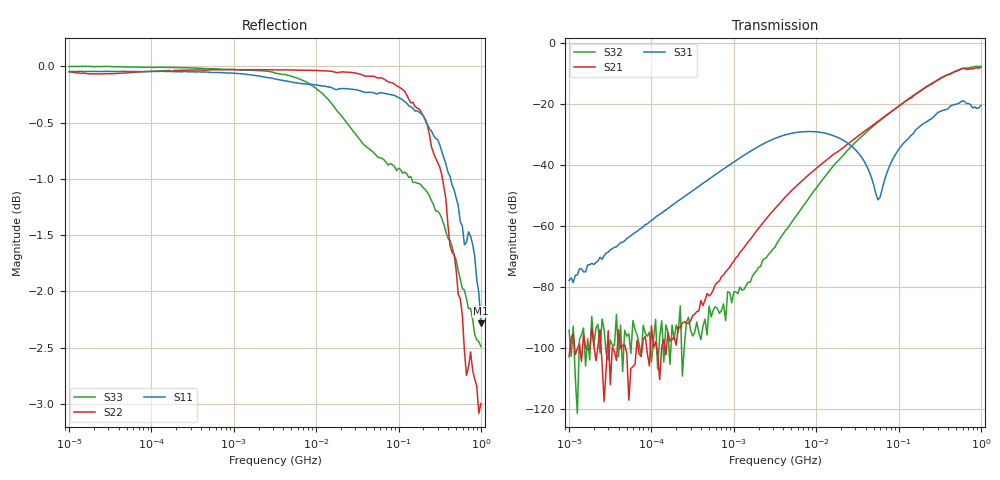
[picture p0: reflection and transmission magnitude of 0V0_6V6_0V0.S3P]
!Keysight Technologies,E5080A,MY55100144,A.11.70.03
!Date: Monday, November 13, 2017 17:26:01
!Correction: S11(Full 3 Port(1,2,3))
!S12(Full 3 Port(1,2,3))
!S13(Full 3 Port(1,2,3))
!S21(Full 3 Port(1,2,3))
!S22(Full 3 Port(1,2,3))
!S23(Full 3 Port(1,2,3))
!S31(Full 3 Port(1,2,3))
!S32(Full 3 Port(1,2,3))
!S33(Full 3 Port(1,2,3))
!S3P File: Measurements: <S11,S12,S13>,
!<S21,S22,S23>,
!<S31,S32,S33>:Log Frequency Sweep
# Hz S  RI  R 50
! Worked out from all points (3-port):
!   201 points, 10 kHz to 1 GHz, reference 50 ohm
!   strongest paths, dB at 10 kHz, 177.8 kHz, 3.162 MHz, 56.23 MHz, 1 GHz:
!     S31: -77.8, -53.2, -31.3, -51.4, -20.5
!     S21: -102.8, -97.2, -54.3, -25.7, -8.0
!     S32: -94.2, -92.5, -67.0, -26.0, -7.6
!   lowest |S11| = -2.3 dB at 1 GHz (marker M1), VSWR 7.65, Z = 383 + j0.352 ohm
!   |S11| at or under -10 dB: nowhere
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10000  0.9946 -0.00564  1.02e-05 8.78e-06  1.01e-05 0.000124
       6.4e-06 3.36e-06  0.4708 -0.8759  2.78e-06 -8.64e-06
       -1.88e-06 0.000129  -7.03e-06 -1.82e-05  0.9997 -0.00226
50118.72  0.9944 -0.027  -1.98e-07 2.23e-05  1.1e-05 0.00064
          -6.59e-06 4.91e-06  -0.7916 -0.6001  3.77e-06 2.02e-05
          1.46e-05 0.000625  -6.15e-06 1.44e-05  0.9993 -0.00565
562341.3  0.9491 -0.2945  -7.08e-05 4.29e-05  0.00138 0.00642
          -7.71e-05 4.61e-05  -0.9949 -0.0576  -1.2e-05 3.41e-05
          0.0014 0.00642  -2.2e-05 3.58e-05  0.9961 -0.0542
3162278  0.1545 -0.975  -0.00134 0.00141  0.0207 0.0178
         -0.00132 0.00141  -0.9965 0.00457  -0.000405 0.000232
         0.0209 0.0176  -0.000379 0.000238  0.95 -0.2893
2.113489e7  -0.9392 -0.2714  -0.00126 0.0192  0.0207 -0.0153
            -0.00131 0.0192  -0.9896 0.0981  -0.00857 0.0115
            0.0206 -0.0153  -0.0086 0.0115  -0.0179 -0.9486
5.623413e7  -0.971 0.0501  0.00878 0.051  0.00268 -5.96e-05
            0.00872 0.0511  -0.9534 0.259  -0.00539 0.0499
            0.00268 -6.1e-05  -0.00529 0.05  -0.761 -0.5008
1.059254e8  -0.9338 0.2533  0.0374 0.0895  0.00771 0.0183
            0.0375 0.0896  -0.8608 0.4644  0.023 0.0945
            0.00771 0.0183  0.0229 0.0945  -0.8952 -0.0911
3.758374e8  -0.3694 0.8262  0.2901 0.0335  0.0807 -0.00601
            0.2903 0.0333  0.0978 0.8677  0.29 0.0576
            0.0806 -0.00597  0.2897 0.0576  -0.4868 0.6899
7.079458e8  0.4638 0.7054  0.2002 -0.3131  0.0116 -0.1016
            0.2 -0.3135  0.6995 0.2259  0.2463 -0.3026
            0.0115 -0.1013  0.2465 -0.3024  0.2566 0.7369
1e9  0.7688 0.000188  -0.1002 -0.3847  -0.0566 -0.0757
     -0.1007 -0.3848  0.5905 -0.3908  -0.0458 -0.4147
     -0.0568 -0.0758  -0.0454 -0.4147  0.6825 0.3127
